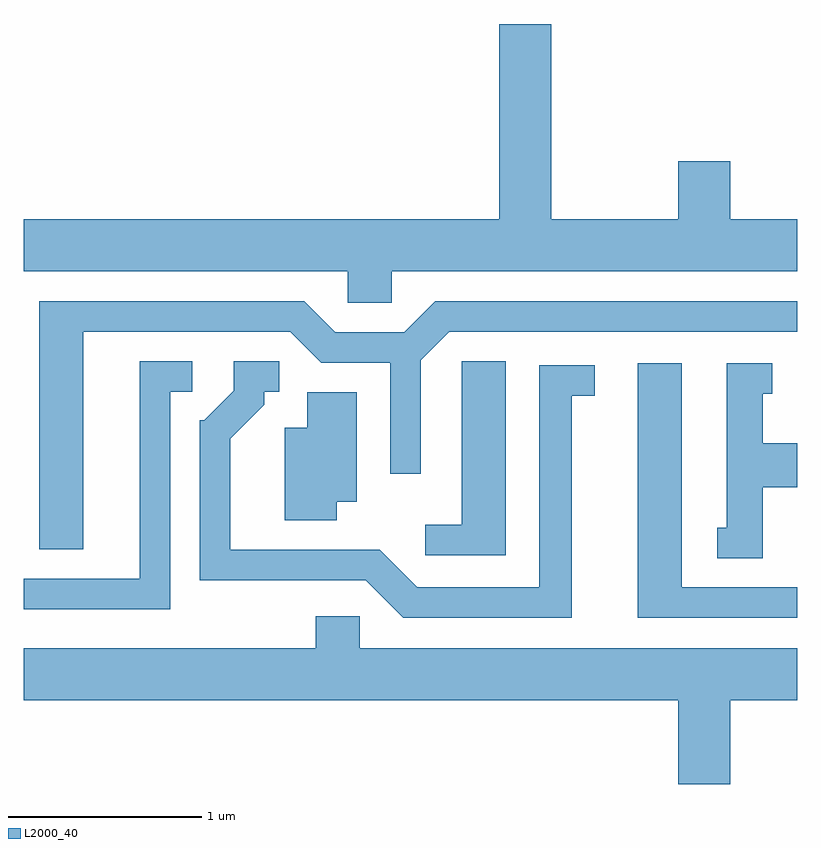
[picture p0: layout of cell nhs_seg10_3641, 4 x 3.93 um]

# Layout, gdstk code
import gdstk
lib = gdstk.Library(unit=1e-6, precision=1e-09)
def P(c, l, *ps):  # polygons
    for p in ps: c.add(gdstk.Polygon(p, *l))
L2000_40 = (2000, 40)

nhs_seg10_3641 = lib.new_cell('nhs_seg10_3641')
P(nhs_seg10_3641, L2000_40, [(293.514,2187.176),(295.611,2187.176),(295.611,2187.444),(295.264,2187.444),(295.264,2187.744),(294.996,2187.744),(294.996,2187.444),(294.339,2187.444),(294.339,2188.454),(294.071,2188.454),(294.071,2187.444),(291.611,2187.444),(291.611,2187.176),(293.286,2187.176),(293.286,2187.011),(293.514,2187.011)],
  [(291.919,2186.861),(292.989,2186.861),(293.149,2186.701),(293.506,2186.701),(293.506,2186.128),(293.664,2186.128),(293.664,2186.714),(293.812,2186.861),(295.611,2186.861),(295.611,2187.019),(293.739,2187.019),(293.579,2186.859),(293.222,2186.859),(293.062,2187.019),(291.691,2187.019),(291.691,2185.736),(291.919,2185.736)],
  [(292.369,2186.551),(292.483,2186.551),(292.483,2186.709),(292.211,2186.709),(292.211,2185.584),(291.611,2185.584),(291.611,2185.426),(292.369,2185.426)],
  [(294.444,2186.531),(294.563,2186.531),(294.563,2186.689),(294.276,2186.689),(294.276,2185.539),(293.647,2185.539),(293.452,2185.734),(292.679,2185.734),(292.679,2186.309),(292.854,2186.484),(292.854,2186.551),(292.933,2186.551),(292.933,2186.709),(292.696,2186.709),(292.696,2186.557),(292.544,2186.404),(292.521,2186.404),(292.521,2185.576),(293.379,2185.576),(293.574,2185.381),(294.444,2185.381)],
  [(294.104,2186.709),(293.876,2186.709),(293.876,2185.864),(293.688,2185.864),(293.688,2185.706),(294.104,2185.706)],
  [(295.611,2185.539),(295.014,2185.539),(295.014,2186.699),(294.786,2186.699),(294.786,2185.381),(295.611,2185.381)],
  [(295.434,2186.056),(295.611,2186.056),(295.611,2186.284),(295.434,2186.284),(295.434,2186.541),(295.483,2186.541),(295.483,2186.699),(295.246,2186.699),(295.246,2185.849),(295.198,2185.849),(295.198,2185.691),(295.434,2185.691)],
  [(293.229,2185.981),(293.334,2185.981),(293.334,2186.549),(293.076,2186.549),(293.076,2186.364),(292.961,2186.364),(292.961,2185.886),(293.229,2185.886)],
  [(295.264,2184.956),(295.611,2184.956),(295.611,2185.224),(293.349,2185.224),(293.349,2185.389),(293.121,2185.389),(293.121,2185.224),(291.611,2185.224),(291.611,2184.956),(294.996,2184.956),(294.996,2184.522),(295.264,2184.522)])

lib.write_gds('nhs_seg10_3641.gds')
